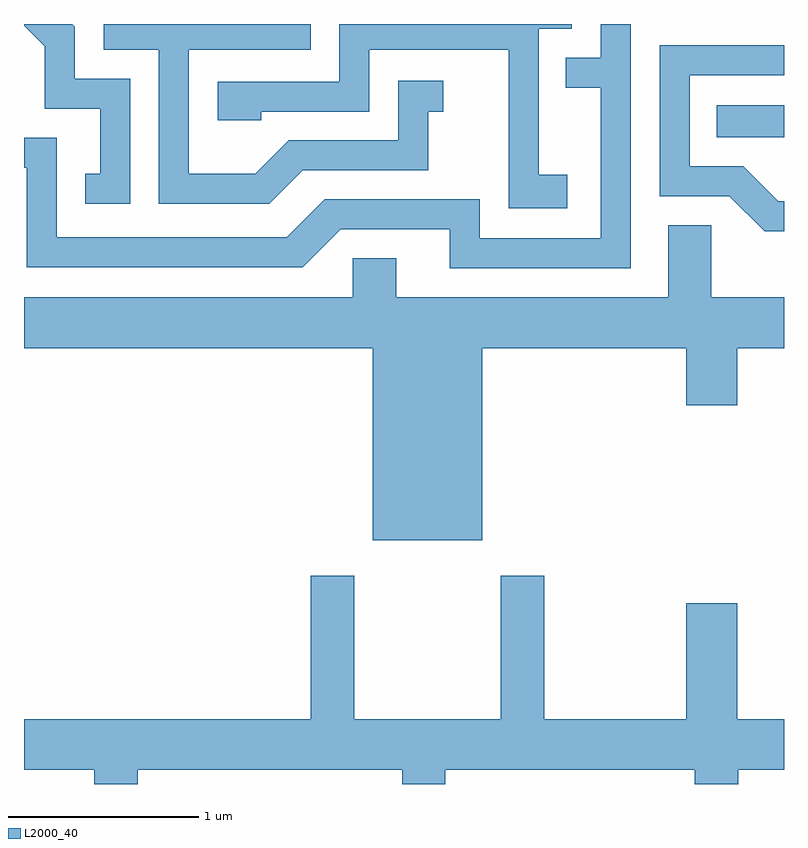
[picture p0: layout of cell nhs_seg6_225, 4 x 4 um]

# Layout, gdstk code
import gdstk
lib = gdstk.Library(unit=1e-6, precision=1e-09)
def R(c, l, rs):  # rectangles x0, y0, x1, y1
    for r in rs: c.add(gdstk.rectangle(r[:2], r[2:], *l))
def P(c, l, *ps):  # polygons
    for p in ps: c.add(gdstk.Polygon(p, *l))
L2000_40 = (2000, 40)

nhs_seg6_225 = lib.new_cell('nhs_seg6_225')
R(nhs_seg6_225, L2000_40, [(195.258,1575.566,195.611,1575.734)])
P(nhs_seg6_225, L2000_40, [(192.169,1575.874),(191.879,1575.874),(191.879,1576.147),(191.864,1576.162),(191.611,1576.162),(191.611,1576.154),(191.721,1576.044),(191.721,1575.716),(192.011,1575.716),(192.011,1575.374),(191.933,1575.374),(191.933,1575.216),(192.169,1575.216)],
  [(194.804,1576.162),(194.646,1576.162),(194.646,1575.984),(194.463,1575.984),(194.463,1575.826),(194.646,1575.826),(194.646,1575.034),(194.009,1575.034),(194.009,1575.239),(193.194,1575.239),(192.994,1575.039),(191.784,1575.039),(191.784,1575.564),(191.611,1575.564),(191.611,1575.406),(191.626,1575.406),(191.626,1574.881),(193.077,1574.881),(193.277,1575.081),(193.851,1575.081),(193.851,1574.876),(194.804,1574.876)],
  [(193.077,1575.391),(193.739,1575.391),(193.739,1575.701),(193.818,1575.701),(193.818,1575.864),(193.581,1575.864),(193.581,1575.549),(193.004,1575.549),(192.829,1575.374),(192.479,1575.374),(192.479,1576.026),(193.119,1576.026),(193.119,1576.162),(192.031,1576.162),(192.031,1576.026),(192.321,1576.026),(192.321,1575.216),(192.902,1575.216)],
  [(194.469,1575.369),(194.319,1575.369),(194.319,1576.136),(194.494,1576.136),(194.494,1576.162),(193.271,1576.162),(193.271,1575.859),(192.631,1575.859),(192.631,1575.656),(192.859,1575.656),(192.859,1575.701),(193.429,1575.701),(193.429,1576.026),(194.161,1576.026),(194.161,1575.191),(194.469,1575.191)],
  [(195.611,1575.229),(195.582,1575.229),(195.397,1575.414),(195.114,1575.414),(195.114,1575.891),(195.611,1575.891),(195.611,1576.049),(194.956,1576.049),(194.956,1575.256),(195.324,1575.256),(195.509,1575.071),(195.611,1575.071)],
  [(194.024,1574.456),(195.096,1574.456),(195.096,1574.156),(195.364,1574.156),(195.364,1574.456),(195.611,1574.456),(195.611,1574.724),(195.229,1574.724),(195.229,1575.104),(195.001,1575.104),(195.001,1574.724),(193.569,1574.724),(193.569,1574.929),(193.341,1574.929),(193.341,1574.724),(191.611,1574.724),(191.611,1574.456),(193.446,1574.456),(193.446,1573.446),(194.024,1573.446)],
  [(192.209,1572.236),(193.601,1572.236),(193.601,1572.162),(193.829,1572.162),(193.829,1572.236),(195.141,1572.236),(195.141,1572.162),(195.369,1572.162),(195.369,1572.236),(195.611,1572.236),(195.611,1572.504),(195.364,1572.504),(195.364,1573.114),(195.096,1573.114),(195.096,1572.504),(194.349,1572.504),(194.349,1573.259),(194.121,1573.259),(194.121,1572.504),(193.349,1572.504),(193.349,1573.259),(193.121,1573.259),(193.121,1572.504),(191.611,1572.504),(191.611,1572.236),(191.981,1572.236),(191.981,1572.162),(192.209,1572.162)])

lib.write_gds('nhs_seg6_225.gds')
